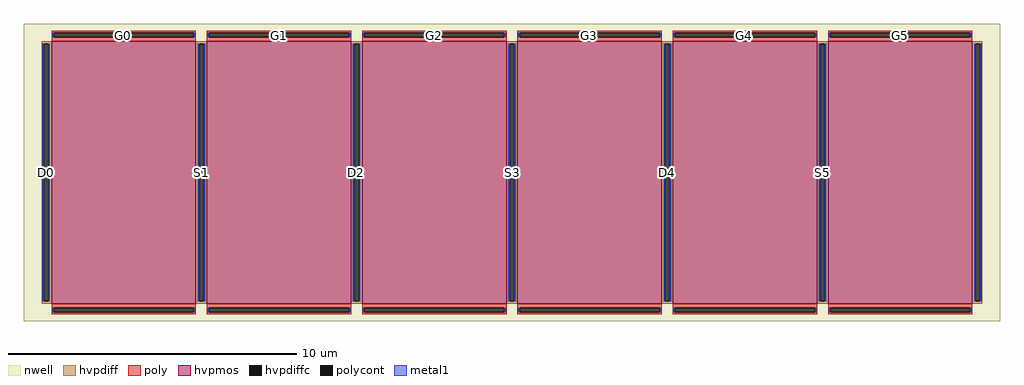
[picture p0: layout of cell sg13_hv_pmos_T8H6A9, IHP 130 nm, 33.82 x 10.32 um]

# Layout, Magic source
magic
tech ihp-sg13cmos5l
<< nwell >>
rect -1691 -516 1691 516
<< hvpmos >>
rect -1595 -454 -1095 454
rect -1057 -454 -557 454
rect -519 -454 -19 454
rect 19 -454 519 454
rect 557 -454 1057 454
rect 1095 -454 1595 454
<< hvpdiff >>
rect -1629 447 -1595 454
rect -1629 -447 -1622 447
rect -1606 -447 -1595 447
rect -1629 -454 -1595 -447
rect -1095 447 -1057 454
rect -1095 -447 -1084 447
rect -1068 -447 -1057 447
rect -1095 -454 -1057 -447
rect -557 447 -519 454
rect -557 -447 -546 447
rect -530 -447 -519 447
rect -557 -454 -519 -447
rect -19 447 19 454
rect -19 -447 -8 447
rect 8 -447 19 447
rect -19 -454 19 -447
rect 519 447 557 454
rect 519 -447 530 447
rect 546 -447 557 447
rect 519 -454 557 -447
rect 1057 447 1095 454
rect 1057 -447 1068 447
rect 1084 -447 1095 447
rect 1057 -454 1095 -447
rect 1595 447 1629 454
rect 1595 -447 1606 447
rect 1622 -447 1629 447
rect 1595 -454 1629 -447
<< hvpdiffc >>
rect -1622 -447 -1606 447
rect -1084 -447 -1068 447
rect -546 -447 -530 447
rect -8 -447 8 447
rect 530 -447 546 447
rect 1068 -447 1084 447
rect 1606 -447 1622 447
<< poly >>
rect -1595 484 -1095 491
rect -1595 468 -1588 484
rect -1102 468 -1095 484
rect -1595 454 -1095 468
rect -1057 484 -557 491
rect -1057 468 -1050 484
rect -564 468 -557 484
rect -1057 454 -557 468
rect -519 484 -19 491
rect -519 468 -512 484
rect -26 468 -19 484
rect -519 454 -19 468
rect 19 484 519 491
rect 19 468 26 484
rect 512 468 519 484
rect 19 454 519 468
rect 557 484 1057 491
rect 557 468 564 484
rect 1050 468 1057 484
rect 557 454 1057 468
rect 1095 484 1595 491
rect 1095 468 1102 484
rect 1588 468 1595 484
rect 1095 454 1595 468
rect -1595 -468 -1095 -454
rect -1595 -484 -1588 -468
rect -1102 -484 -1095 -468
rect -1595 -491 -1095 -484
rect -1057 -468 -557 -454
rect -1057 -484 -1050 -468
rect -564 -484 -557 -468
rect -1057 -491 -557 -484
rect -519 -468 -19 -454
rect -519 -484 -512 -468
rect -26 -484 -19 -468
rect -519 -491 -19 -484
rect 19 -468 519 -454
rect 19 -484 26 -468
rect 512 -484 519 -468
rect 19 -491 519 -484
rect 557 -468 1057 -454
rect 557 -484 564 -468
rect 1050 -484 1057 -468
rect 557 -491 1057 -484
rect 1095 -468 1595 -454
rect 1095 -484 1102 -468
rect 1588 -484 1595 -468
rect 1095 -491 1595 -484
<< polycont >>
rect -1588 468 -1102 484
rect -1050 468 -564 484
rect -512 468 -26 484
rect 26 468 512 484
rect 564 468 1050 484
rect 1102 468 1588 484
rect -1588 -484 -1102 -468
rect -1050 -484 -564 -468
rect -512 -484 -26 -468
rect 26 -484 512 -468
rect 564 -484 1050 -468
rect 1102 -484 1588 -468
<< metal1 >>
rect -1593 468 -1588 484
rect -1102 468 -1097 484
rect -1055 468 -1050 484
rect -564 468 -559 484
rect -517 468 -512 484
rect -26 468 -21 484
rect 21 468 26 484
rect 512 468 517 484
rect 559 468 564 484
rect 1050 468 1055 484
rect 1097 468 1102 484
rect 1588 468 1593 484
rect -1627 -447 -1622 447
rect -1606 -447 -1601 447
rect -1089 -447 -1084 447
rect -1068 -447 -1063 447
rect -551 -447 -546 447
rect -530 -447 -525 447
rect -13 -447 -8 447
rect 8 -447 13 447
rect 525 -447 530 447
rect 546 -447 551 447
rect 1063 -447 1068 447
rect 1084 -447 1089 447
rect 1601 -447 1606 447
rect 1622 -447 1627 447
rect -1593 -484 -1588 -468
rect -1102 -484 -1097 -468
rect -1055 -484 -1050 -468
rect -564 -484 -559 -468
rect -517 -484 -512 -468
rect -26 -484 -21 -468
rect 21 -484 26 -468
rect 512 -484 517 -468
rect 559 -484 564 -468
rect 1050 -484 1055 -468
rect 1097 -484 1102 -468
rect 1588 -484 1593 -468
<< labels >>
rlabel hvpdiffc -1614 0 -1614 0 0 D0
port 13 nsew
rlabel polycont -1345 476 -1345 476 0 G0
port 14 nsew
rlabel hvpdiffc -1076 0 -1076 0 0 S1
port 15 nsew
rlabel polycont -807 476 -807 476 0 G1
port 16 nsew
rlabel hvpdiffc -538 0 -538 0 0 D2
port 17 nsew
rlabel polycont -269 476 -269 476 0 G2
port 18 nsew
rlabel hvpdiffc 0 0 0 0 0 S3
port 19 nsew
rlabel polycont 269 476 269 476 0 G3
port 20 nsew
rlabel hvpdiffc 538 0 538 0 0 D4
port 21 nsew
rlabel polycont 807 476 807 476 0 G4
port 22 nsew
rlabel hvpdiffc 1076 0 1076 0 0 S5
port 23 nsew
rlabel polycont 1345 476 1345 476 0 G5
port 24 nsew
<< properties >>
string gencell sg13_hv_pmos
string library sg13cmos5l
string parameters w 9.08 l 5.0 m 1 ng 6 diffcov 100 polycov 100 guard 0 glc 1 grc 1 gtc 1 gbc 1 tbcov 100 rlcov 100 topc 1 botc 1 poverlap 0 doverlap 1 lmin 0.4 wmin 0.15 class mosfet compatible {sg13_lv_pmos sg13_hv_pmos} full_metal 1 conn_gates 0 gate_ring 0 ccols 1 viasrc 0 viadrn 0 viagate 0 viagb 0 viagr 0 viagl 0 viagt 0 doports 1
<< end >>
